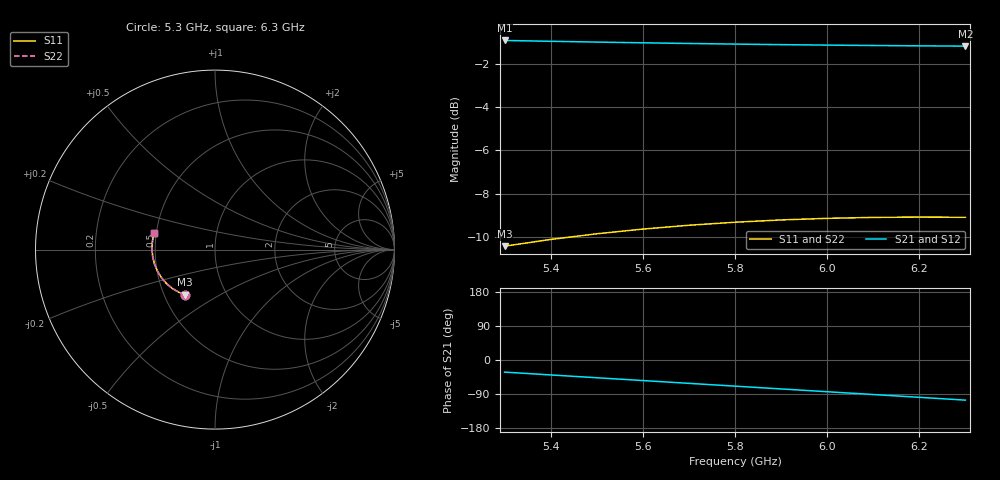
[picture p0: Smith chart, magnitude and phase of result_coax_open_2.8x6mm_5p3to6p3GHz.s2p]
! T03: W=2.8, L=6 mm L2 windows; original tapers; L3 intact
! 11 direct frequencies 5.3-6.3 GHz; 50-ohm coax reference; connectors included
# Hz S RI R 50
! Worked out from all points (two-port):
!   11 points, 5.3 GHz to 6.3 GHz, reference 50 ohm
!   highest |S21| = -0.92 dB at 5.3 GHz (marker M1); lowest = -1.2 dB at 6.3 GHz (marker M2)
!   |S21| within 3 dB of the highest: start of sweep to end of sweep
!   lowest |S11| = -10.4 dB at 5.3 GHz (marker M3), VSWR 1.86, Z = 31.9 - j17.6 ohm
!   |S11| at or under -10 dB: start of sweep to 5.441 GHz
!   |S22| runs from -10.4 to -9.1 dB; largest |S21 - S12| = 0
5.3e9  -0.1672 -0.2507  0.7629 -0.476  0.7629 -0.476  -0.1664 -0.2511
5.4e9  -0.2041 -0.2364  0.6916 -0.5683  0.6916 -0.5683  -0.2035 -0.2367
5.5e9  -0.2388 -0.2157  0.6099 -0.6502  0.6099 -0.6502  -0.2384 -0.2161
5.6e9  -0.2703 -0.1892  0.5191 -0.7206  0.5191 -0.7206  -0.27 -0.1895
5.7e9  -0.2976 -0.1576  0.4206 -0.7785  0.4206 -0.7785  -0.2974 -0.1577
5.8e9  -0.3199 -0.1215  0.3162 -0.8234  0.3162 -0.8234  -0.3198 -0.1216
5.9e9  -0.3366 -0.082  0.2074 -0.8547  0.2074 -0.8547  -0.3365 -0.0819
6e9  -0.3471 -0.04  0.0958 -0.872  0.0958 -0.872  -0.347 -0.0398
6.1e9  -0.3511 0.0035  -0.0169 -0.8752  -0.0169 -0.8752  -0.351 0.00375
6.2e9  -0.3485 0.0473  -0.1291 -0.8642  -0.1291 -0.8642  -0.3484 0.0476
6.3e9  -0.3394 0.0905  -0.2392 -0.8391  -0.2392 -0.8391  -0.3392 0.0908
